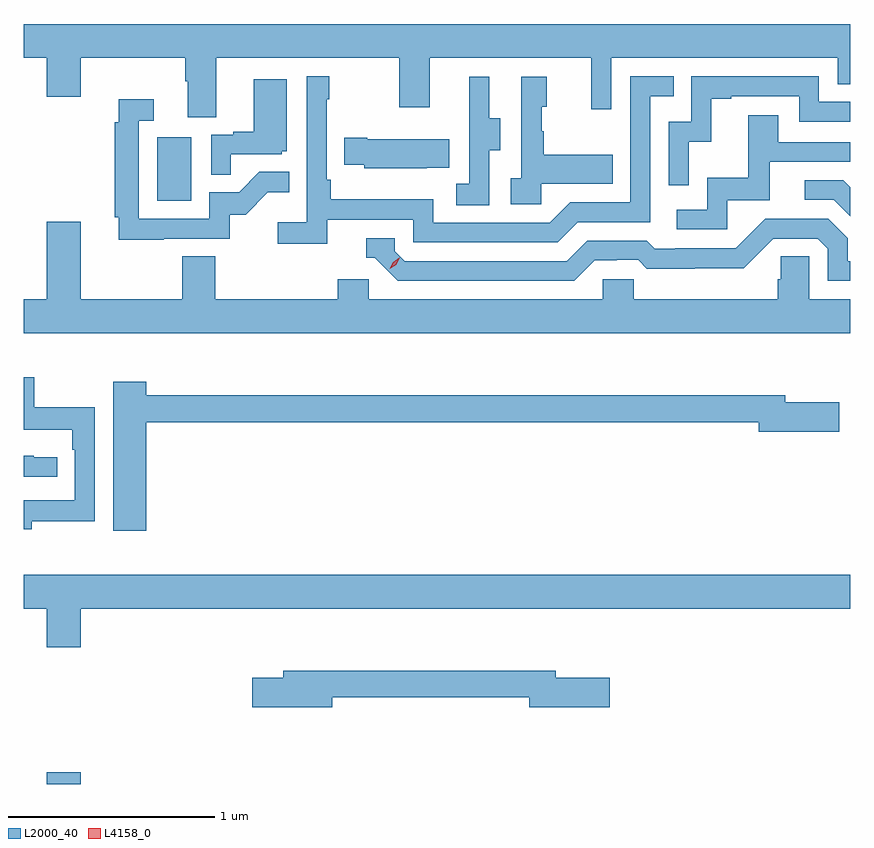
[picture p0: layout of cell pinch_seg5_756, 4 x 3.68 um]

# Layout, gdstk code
import gdstk
lib = gdstk.Library(unit=1e-6, precision=1e-09)
def R(c, l, rs):  # rectangles x0, y0, x1, y1
    for r in rs: c.add(gdstk.rectangle(r[:2], r[2:], *l))
def P(c, l, *ps):  # polygons
    for p in ps: c.add(gdstk.Polygon(p, *l))
L2000_40 = (2000, 40)
L4158_0 = (4158, 0)

pinch_seg5_756 = lib.new_cell('pinch_seg5_756')
R(pinch_seg5_756, L2000_40, [(836.336,901.199,836.5,901.255), (836.87,904.02,837.034,904.327)])
P(pinch_seg5_756, L2000_40, [(836.224,904.712),(836.336,904.712),(836.336,904.524),(836.5,904.524),(836.5,904.712),(837.005,904.712),(837.005,904.6),(837.017,904.6),(837.017,904.426),(837.157,904.426),(837.157,904.712),(838.042,904.712),(838.042,904.473),(838.189,904.473),(838.189,904.712),(838.97,904.712),(838.97,904.464),(839.067,904.464),(839.067,904.712),(840.162,904.712),(840.162,904.585),(840.224,904.585),(840.224,904.876),(836.224,904.876)],
  [(837.692,903.93),(838.11,903.93),(838.11,903.819),(838.807,903.819),(838.906,903.918),(839.256,903.918),(839.256,904.527),(839.369,904.527),(839.369,904.623),(839.16,904.623),(839.16,904.014),(838.869,904.014),(838.77,903.915),(838.206,903.915),(838.206,904.027),(837.71,904.027),(837.71,904.123),(837.69,904.123),(837.69,904.511),(837.703,904.511),(837.703,904.624),(837.594,904.624),(837.594,903.916),(837.453,903.916),(837.453,903.814),(837.692,903.814)],
  [(839.442,904.307),(839.552,904.307),(839.552,904.515),(839.647,904.515),(839.647,904.527),(839.976,904.527),(839.976,904.404),(840.224,904.404),(840.224,904.5),(840.072,904.5),(840.072,904.623),(839.454,904.623),(839.454,904.404),(839.346,904.404),(839.346,904.095),(839.442,904.095)],
  [(838.728,904.103),(839.075,904.103),(839.075,904.243),(838.741,904.243),(838.741,904.358),(838.731,904.358),(838.731,904.476),(838.756,904.476),(838.756,904.621),(838.632,904.621),(838.632,904.13),(838.581,904.13),(838.581,904.005),(838.728,904.005)],
  [(838.476,904.264),(838.531,904.264),(838.531,904.419),(838.477,904.419),(838.477,904.621),(838.379,904.621),(838.379,904.407),(838.38,904.407),(838.38,904.103),(838.317,904.103),(838.317,904),(838.476,904)],
  [(837.227,904.245),(837.474,904.245),(837.474,904.26),(837.496,904.26),(837.496,904.609),(837.338,904.609),(837.338,904.354),(837.239,904.354),(837.239,904.341),(837.132,904.341),(837.132,904.147),(837.227,904.147)],
  [(836.903,903.837),(837.222,903.837),(837.222,903.954),(837.298,903.954),(837.405,904.061),(837.509,904.061),(837.509,904.16),(837.365,904.16),(837.267,904.062),(837.123,904.062),(837.123,903.933),(836.781,903.933),(836.781,904.407),(836.854,904.407),(836.854,904.513),(836.684,904.513),(836.684,904.4),(836.665,904.4),(836.665,903.94),(836.684,903.94),(836.684,903.832),(836.903,903.832)],
  [(839.628,904.023),(839.833,904.023),(839.833,904.209),(840.224,904.209),(840.224,904.305),(839.875,904.305),(839.875,904.435),(839.731,904.435),(839.731,904.132),(839.532,904.132),(839.532,903.978),(839.385,903.978),(839.385,903.882),(839.628,903.882)],
  [(838.175,904.181),(838.283,904.181),(838.283,904.318),(837.886,904.318),(837.886,904.326),(837.775,904.326),(837.775,904.196),(837.873,904.196),(837.873,904.178),(838.175,904.178)],
  [(840.224,904.085),(840.19,904.119),(840.003,904.119),(840.003,904.026),(840.144,904.026),(840.224,903.946)],
  [(838.987,903.732),(839.094,903.732),(839.094,903.735),(839.197,903.735),(839.239,903.693),(839.472,903.693),(839.472,903.695),(839.708,903.695),(839.85,903.837),(840.066,903.837),(840.114,903.789),(840.114,903.633),(840.224,903.633),(840.224,903.729),(840.211,903.729),(840.211,903.839),(840.117,903.933),(839.811,903.933),(839.67,903.792),(839.377,903.792),(839.377,903.789),(839.278,903.789),(839.239,903.828),(838.95,903.828),(838.851,903.729),(838.068,903.729),(838.02,903.777),(838.02,903.84),(837.881,903.84),(837.881,903.744),(837.924,903.744),(838.035,903.633),(838.888,903.633)],
  [(840.224,903.544),(840.024,903.544),(840.024,903.752),(839.887,903.752),(839.887,903.642),(839.873,903.642),(839.873,903.544),(839.175,903.544),(839.175,903.642),(839.025,903.642),(839.025,903.544),(837.894,903.544),(837.894,903.642),(837.743,903.642),(837.743,903.544),(837.152,903.544),(837.152,903.752),(836.992,903.752),(836.992,903.544),(836.5,903.544),(836.5,903.919),(836.336,903.919),(836.336,903.544),(836.224,903.544),(836.224,903.38),(840.224,903.38)],
  [(836.263,902.47),(836.568,902.47),(836.568,903.022),(836.275,903.022),(836.275,903.168),(836.224,903.168),(836.224,902.912),(836.459,902.912),(836.459,902.816),(836.472,902.816),(836.472,902.571),(836.224,902.571),(836.224,902.432),(836.263,902.432)],
  [(836.818,902.95),(839.78,902.95),(839.78,902.903),(840.169,902.903),(840.169,903.045),(839.908,903.045),(839.908,903.079),(836.818,903.079),(836.818,903.145),(836.657,903.145),(836.657,902.424),(836.818,902.424)],
  [(836.386,902.781),(836.273,902.781),(836.273,902.786),(836.224,902.786),(836.224,902.685),(836.386,902.685)],
  [(836.5,902.048),(840.224,902.048),(840.224,902.212),(836.224,902.212),(836.224,902.048),(836.336,902.048),(836.336,901.86),(836.5,901.86)],
  [(837.718,901.618),(838.67,901.618),(838.67,901.571),(839.059,901.571),(839.059,901.713),(838.798,901.713),(838.798,901.747),(837.479,901.747),(837.479,901.713),(837.33,901.713),(837.33,901.571),(837.718,901.571)])
P(pinch_seg5_756, L4158_0, [(837.996,903.691),(837.996,903.692),(838.012,903.724),(838.042,903.744),(838.043,903.744),(838.043,903.744),(838.027,903.711),(837.996,903.691)])

lib.write_gds('pinch_seg5_756.gds')
